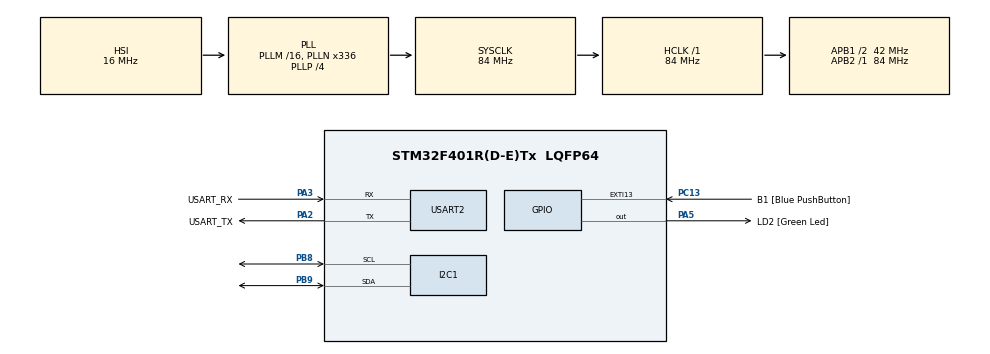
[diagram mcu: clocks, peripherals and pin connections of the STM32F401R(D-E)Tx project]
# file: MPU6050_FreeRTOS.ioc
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Dma.Request0=USART2_TX
Dma.USART2_TX.0.Direction=DMA_MEMORY_TO_PERIPH
Dma.USART2_TX.0.FIFOMode=DMA_FIFOMODE_DISABLE
Dma.USART2_TX.0.Instance=DMA1_Stream6
Dma.USART2_TX.0.MemDataAlignment=DMA_MDATAALIGN_BYTE
Dma.USART2_TX.0.MemInc=DMA_MINC_ENABLE
Dma.USART2_TX.0.Mode=DMA_NORMAL
Dma.USART2_TX.0.PeriphDataAlignment=DMA_PDATAALIGN_BYTE
Dma.USART2_TX.0.PeriphInc=DMA_PINC_DISABLE
Dma.USART2_TX.0.Priority=DMA_PRIORITY_LOW
FREERTOS.Mutexes01=uartMutex,Dynamic,NULL,Available
FREERTOS.Queues01=cmdQueue,10,uint8_t,0,Dynamic,NULL,NULL
FREERTOS.Tasks01=TelemetryTask,24,256,StartDefaultTask,Default,NULL,Dynamic,NULL,NULL;StatusTask,16,256,StartStatusTask,Default,NULL,Dynamic,NULL,NULL
IWDG.Prescaler=IWDG_PRESCALER_32
IWDG.Reload=4000
Mcu.Family=STM32F4
Mcu.Name=STM32F401R(D-E)Tx
Mcu.Package=LQFP64
NVIC.DMA1_Stream6_IRQn=true\:5\:0\:false\:false\:true\:true\:false\:true\:true
NVIC.PriorityGroup=NVIC_PRIORITYGROUP_4
NVIC.TIM1_TRG_COM_TIM11_IRQn=true\:15\:0\:false\:false\:true\:false\:false\:true\:true
NVIC.TimeBase=TIM1_TRG_COM_TIM11_IRQn
NVIC.TimeBaseIP=TIM11
NVIC.USART2_IRQn=true\:5\:0\:false\:false\:true\:true\:true\:true\:true
PA13.GPIO_Label=TMS
PA13.Mode=Trace_Asynchronous_SW
PA13.Signal=SYS_JTMS-SWDIO
PA14.GPIO_Label=TCK
PA14.Mode=Trace_Asynchronous_SW
PA14.Signal=SYS_JTCK-SWCLK
PA2.GPIO_Label=USART_TX
PA2.GPIO_Mode=GPIO_MODE_AF_PP
PA2.GPIO_PuPd=GPIO_NOPULL
PA2.GPIO_Speed=GPIO_SPEED_FREQ_LOW
PA2.Mode=Asynchronous
PA2.Signal=USART2_TX
PA3.GPIO_Label=USART_RX
PA3.GPIO_Mode=GPIO_MODE_AF_PP
PA3.GPIO_PuPd=GPIO_NOPULL
PA3.GPIO_Speed=GPIO_SPEED_FREQ_LOW
PA3.Mode=Asynchronous
PA3.Signal=USART2_RX
PA5.GPIO_Label=LD2 [Green Led]
PA5.GPIO_Mode=GPIO_MODE_OUTPUT_PP
PA5.GPIO_PuPd=GPIO_NOPULL
PA5.GPIO_Speed=GPIO_SPEED_FREQ_LOW
PA5.Signal=GPIO_Output
PB3.GPIO_Label=SWO
PB3.Mode=Trace_Asynchronous_SW
PB3.Signal=SYS_JTDO-SWO
PB8.Mode=I2C
PB8.Signal=I2C1_SCL
PB9.Mode=I2C
PB9.Signal=I2C1_SDA
PC13-ANTI_TAMP.GPIO_Label=B1 [Blue PushButton]
PC13-ANTI_TAMP.GPIO_ModeDefaultEXTI=GPIO_MODE_IT_FALLING
PC13-ANTI_TAMP.GPIO_PuPd=GPIO_NOPULL
PC13-ANTI_TAMP.Signal=GPXTI13
PC14-OSC32_IN.Mode=LSE-External-Oscillator
PC14-OSC32_IN.Signal=RCC_OSC32_IN
PC15-OSC32_OUT.Mode=LSE-External-Oscillator
PC15-OSC32_OUT.Signal=RCC_OSC32_OUT
PH0\ -\ OSC_IN.Mode=HSE-External-Clock-Source
PH0\ -\ OSC_IN.Signal=RCC_OSC_IN
PH1\ -\ OSC_OUT.Mode=HSE-External-Clock-Source
PH1\ -\ OSC_OUT.Signal=RCC_OSC_OUT
ProjectManager.HeapSize=0x200
ProjectManager.StackSize=0x400
ProjectManager.TargetToolchain=STM32CubeIDE
RCC.48MHZClocksFreq_Value=48000000
RCC.AHBFreq_Value=84000000
RCC.APB1CLKDivider=RCC_HCLK_DIV2
RCC.APB1Freq_Value=42000000
RCC.APB1TimFreq_Value=84000000
RCC.APB2Freq_Value=84000000
RCC.APB2TimFreq_Value=84000000
RCC.CortexFreq_Value=84000000
RCC.HCLKFreq_Value=84000000
RCC.HSE_VALUE=8000000
RCC.HSI_VALUE=16000000
RCC.PLLN=336
RCC.PLLP=RCC_PLLP_DIV4
RCC.PLLQ=7
RCC.SYSCLKFreq_VALUE=84000000
RCC.SYSCLKSource=RCC_SYSCLKSOURCE_PLLCLK
RCC.VCOOutputFreq_Value=336000000
USART2.VirtualMode=VM_ASYNC
VP_FREERTOS_VS_CMSIS_V2.Mode=CMSIS_V2
VP_IWDG_VS_IWDG.Mode=IWDG_Activate
VP_SYS_VS_tim11.Mode=TIM11
board=NUCLEO-F401RE

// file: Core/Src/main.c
/* USER CODE BEGIN Header */
/**
  ******************************************************************************
  * @file           : main.c
  * @brief          : Main program body
  ******************************************************************************
  * @attention
  *
  * Copyright (c) 2026 STMicroelectronics.
  * All rights reserved.
  *
  * This software is licensed under terms that can be found in the LICENSE file
  * in the root directory of this software component.
  * If no LICENSE file comes with this software, it is provided AS-IS.
  *
  ******************************************************************************
  */
/* USER CODE END Header */
#include "main.h"
#include "cmsis_os.h"

/* USER CODE BEGIN Includes */
#include <stdio.h>
#include <string.h>
#include "task.h"
/* USER CODE END Includes */

/* USER CODE BEGIN PD */

#define MPU6050_ADDR 0xD0

// Flash Black Box Defines
#define FLASH_USER_SECTOR_ADDR   0x08020000     // Start of Sector 5
#define FLASH_USER_SECTOR        FLASH_SECTOR_5
#define CRASH_MAGIC_WORD         0xDEADBEEF     // Marker to verify log existence
#define CRASH_THRESHOLD_SQ       2.25f          // 1.5g squared (avoids an expensive sqrt() call)
#define TELEMETRY_RATE_VISUAL_MS 30U
#define TELEMETRY_RATE_FAST_MS   500U
#define TELEMETRY_RATE_NORMAL_MS 1000U
#define TELEMETRY_RATE_SLOW_MS   2000U
/* USER CODE END PD */

I2C_HandleTypeDef hi2c1;

IWDG_HandleTypeDef hiwdg;

UART_HandleTypeDef huart2;
DMA_HandleTypeDef hdma_usart2_tx;

/* Definitions for TelemetryTask */
osThreadId_t TelemetryTaskHandle;
const osThreadAttr_t TelemetryTask_attributes = {
  .name = "TelemetryTask",
  // The checksummed float packet formatter needs additional headroom. Keep
  // enough reserve for debug builds and future health/telemetry changes.
  .stack_size = 384 * 4,
  .priority = (osPriority_t) osPriorityNormal,
};
/* Definitions for StatusTask */
osThreadId_t StatusTaskHandle;
const osThreadAttr_t StatusTask_attributes = {
  .name = "StatusTask",
  .stack_size = 256 * 4,
  .priority = (osPriority_t) osPriorityBelowNormal,
};
/* Definitions for cmdQueue */
osMessageQueueId_t cmdQueueHandle;
const osMessageQueueAttr_t cmdQueue_attributes = {
  .name = "cmdQueue"
};
/* Definitions for uartMutex */
osMutexId_t uartMutexHandle;
const osMutexAttr_t uartMutex_attributes = {
  .name = "uartMutex"
};
/* USER CODE BEGIN PV */

// MPU6050 Raw Data
int16_t Accel_X_RAW = 0;
int16_t Accel_Y_RAW = 0;
int16_t Accel_Z_RAW = 0;
int16_t Gyro_X_RAW = 0;
int16_t Gyro_Y_RAW = 0;
int16_t Gyro_Z_RAW = 0;

// MPU6050 Processed Data
float Ax, Ay, Az;
float Gx, Gy, Gz;

// Status Variables
uint8_t check = 0;
uint8_t mpu_init_success = 0;
uint8_t rx_byte = 0;

// Telemetry Stream Control Flags
volatile uint8_t telemetry_paused = 0;      // 0 = Streaming, 1 = Paused
volatile uint32_t telemetry_delay_ms = TELEMETRY_RATE_VISUAL_MS;
volatile uint32_t command_rx_count = 0;
volatile uint32_t command_rx_drop_count = 0;
static uint32_t telemetry_sequence = 0;
static const char *boot_reset_reason = "UNKNOWN";
static volatile uint8_t fault_corrupt_next_frame = 0;
static volatile uint8_t fault_starve_watchdog = 0;

// Crash Detection Flag
volatile uint8_t crash_logged = 0;

/* USER CODE END PV */

void SystemClock_Config(void);
static void MX_GPIO_Init(void);
static void MX_DMA_Init(void);
static void MX_I2C1_Init(void);
static void MX_USART2_UART_Init(void);
static void MX_IWDG_Init(void);
void StartDefaultTask(void *argument);
void StartStatusTask(void *argument);

/* USER CODE BEGIN PFP */

// MPU6050 Functions
void MPU6050_Init(void);
void MPU6050_Read_All(void);
void MPU6050_Sleep(void);
void MPU6050_Wake(void);

uint8_t calculate_checksum(char* str, int len);

void Clear_Crash_Log(void);
void Write_Crash_Log(float x, float y, float z);

/* USER CODE END PFP */

/* USER CODE BEGIN 0 */

/* ============================================================================
   MPU6050 INITIALIZATION
   ============================================================================ */
void MPU6050_Init(void)
{
    uint8_t Data;
    HAL_StatusTypeDef status;

    HAL_Delay(100);

    // Check device ID
    status = HAL_I2C_Mem_Read(&hi2c1, MPU6050_ADDR, 0x75, 1, &check, 1, 1000);

    if (status != HAL_OK || check != 0x68)
    {
        mpu_init_success = 0;
        return;
    }

    mpu_init_success = 1;

    // Wake up using the X gyro PLL as the clock reference.
    Data = 0x01;
    HAL_I2C_Mem_Write(&hi2c1, MPU6050_ADDR, 0x6B, 1, &Data, 1, 1000);
    HAL_Delay(10);

    // 44 Hz digital low-pass filter and 200 Hz sensor sample rate.  The host
    // can still receive a lighter 33 Hz visual stream, but each sample is
    // cleaner and the sensor has a much better chance of observing fast tilt.
    Data = 0x03;
    HAL_I2C_Mem_Write(&hi2c1, MPU6050_ADDR, 0x1A, 1, &Data, 1, 1000);
    Data = 0x04;
    HAL_I2C_Mem_Write(&hi2c1, MPU6050_ADDR, 0x19, 1, &Data, 1, 1000);

    // ±1000 °/s avoids clipping during quick hand rotations (32.8 LSB/°/s).
    Data = 0x10;
    HAL_I2C_Mem_Write(&hi2c1, MPU6050_ADDR, 0x1B, 1, &Data, 1, 1000);

    // ±4 g retains normal hand-motion resolution without clipping shocks.
    Data = 0x08;
    HAL_I2C_Mem_Write(&hi2c1, MPU6050_ADDR, 0x1C, 1, &Data, 1, 1000);

    HAL_Delay(50);
}

/* ============================================================================
   MPU6050 SYNCHRONIZED ACCELEROMETER + GYROSCOPE READ
   ============================================================================ */
void MPU6050_Read_All(void)
{
    uint8_t Rec_Data[14];
    HAL_StatusTypeDef status;

    // One 14-byte burst keeps acceleration and gyro values from the same IMU
    // sample interval, rather than mixing two independent I2C reads.
    status = HAL_I2C_Mem_Read(&hi2c1, MPU6050_ADDR, 0x3B, 1, Rec_Data, 14, 1000);
    if (status != HAL_OK) {
        return;
    }

    Accel_X_RAW = (int16_t)(Rec_Data[0] << 8 | Rec_Data[1]);
    Accel_Y_RAW = (int16_t)(Rec_Data[2] << 8 | Rec_Data[3]);
    Accel_Z_RAW = (int16_t)(Rec_Data[4] << 8 | Rec_Data[5]);
    Gyro_X_RAW = (int16_t)(Rec_Data[8] << 8 | Rec_Data[9]);
    Gyro_Y_RAW = (int16_t)(Rec_Data[10] << 8 | Rec_Data[11]);
    Gyro_Z_RAW = (int16_t)(Rec_Data[12] << 8 | Rec_Data[13]);

    Ax = (float)Accel_X_RAW / 8192.0f;
    Ay = (float)Accel_Y_RAW / 8192.0f;
    Az = (float)Accel_Z_RAW / 8192.0f;
    Gx = (float)Gyro_X_RAW / 32.8f;
    Gy = (float)Gyro_Y_RAW / 32.8f;
    Gz = (float)Gyro_Z_RAW / 32.8f;
}

/* ============================================================================
   MPU6050 POWER MANAGEMENT FUNCTIONS
   ============================================================================ */

// Put MPU6050 into Low-Power Sleep Mode (5 uA)
void MPU6050_Sleep(void)
{
    uint8_t Data = 0x40; // Set Bit 6 (SLEEP = 1)
    HAL_I2C_Mem_Write(&hi2c1, MPU6050_ADDR, 0x6B, 1, &Data, 1, 1000);
}

// Wake up MPU6050 to Active Sampling Mode (~3.9 mA)
void MPU6050_Wake(void)
{
    uint8_t Data = 0x00; // Clear Bit 6 (SLEEP = 0, CLKSEL = Internal 8MHz)
    HAL_I2C_Mem_Write(&hi2c1, MPU6050_ADDR, 0x6B, 1, &Data, 1, 1000);
    HAL_Delay(10);       // Allow internal PLL and sensors to stabilize
}

/* ============================================================================
   NON-VOLATILE FLASH LOGGING FUNCTIONS
   ============================================================================ */

void Clear_Crash_Log(void)
{
    HAL_IWDG_Refresh(&hiwdg); // Keep watchdog happy before blocking erase

    HAL_FLASH_Unlock();

    FLASH_EraseInitTypeDef EraseInitStruct;
    uint32_t SectorError = 0;

    EraseInitStruct.TypeErase = FLASH_TYPEERASE_SECTORS;
    EraseInitStruct.VoltageRange = FLASH_VOLTAGE_RANGE_3; // 2.7V - 3.6V (Nucleo 3.3V supply)
    EraseInitStruct.Sector = FLASH_USER_SECTOR;
    EraseInitStruct.NbSectors = 1;

    HAL_FLASHEx_Erase(&EraseInitStruct, &SectorError);

    HAL_FLASH_Lock();

    HAL_IWDG_Refresh(&hiwdg); // Refresh watchdog immediately after erase
}

void Write_Crash_Log(float x, float y, float z)
{
    Clear_Crash_Log(); // Erase sector first (resets bits to 0xFFFFFFFF)

    HAL_FLASH_Unlock();

    // Re-interpret float bit patterns as 32-bit words
    uint32_t valX = *(uint32_t*)&x;
    uint32_t valY = *(uint32_t*)&y;
    uint32_t valZ = *(uint32_t*)&z;

    // Write Magic Word and Kinematic Data
    HAL_FLASH_Program(FLASH_TYPEPROGRAM_WORD, FLASH_USER_SECTOR_ADDR, CRASH_MAGIC_WORD);
    HAL_FLASH_Program(FLASH_TYPEPROGRAM_WORD, FLASH_USER_SECTOR_ADDR + 4, valX);
    HAL_FLASH_Program(FLASH_TYPEPROGRAM_WORD, FLASH_USER_SECTOR_ADDR + 8, valY);
    HAL_FLASH_Program(FLASH_TYPEPROGRAM_WORD, FLASH_USER_SECTOR_ADDR + 12, valZ);

    HAL_FLASH_Lock();
}

/* USER CODE END 0 */

int main(void)
{

  /* MCU Configuration--------------------------------------------------------*/

  /* Reset of all peripherals, Initializes the Flash interface and the Systick. */
  HAL_Init();

  /* USER CODE BEGIN Init */

  // Read sticky reset flags before peripheral initialization changes them.
  if (__HAL_RCC_GET_FLAG(RCC_FLAG_IWDGRST)) boot_reset_reason = "IWDG";
  else if (__HAL_RCC_GET_FLAG(RCC_FLAG_WWDGRST)) boot_reset_reason = "WWDG";
  else if (__HAL_RCC_GET_FLAG(RCC_FLAG_SFTRST)) boot_reset_reason = "SOFTWARE";
  else if (__HAL_RCC_GET_FLAG(RCC_FLAG_PORRST)) boot_reset_reason = "POWER";
  else if (__HAL_RCC_GET_FLAG(RCC_FLAG_PINRST)) boot_reset_reason = "PIN";
  __HAL_RCC_CLEAR_RESET_FLAGS();

  /* USER CODE END Init */

  /* Configure the system clock */
  SystemClock_Config();

  /* Initialize all configured peripherals */
  MX_GPIO_Init();
  MX_DMA_Init();
  MX_I2C1_Init();
  MX_USART2_UART_Init();
  MX_IWDG_Init();
  /* USER CODE BEGIN 2 */

  MPU6050_Init();
  // Check if Flash Sector 5 already contains a saved crash log from a previous run
  uint32_t boot_magic = *(__IO uint32_t*)FLASH_USER_SECTOR_ADDR;
  if (boot_magic == CRASH_MAGIC_WORD)
  {
      HAL_GPIO_WritePin(LD2_GPIO_Port, LD2_Pin, GPIO_PIN_SET); // Restore LED ON state
      crash_logged = 1; // Sync RAM flag with Flash memory state
  }

  /* USER CODE END 2 */

  /* Init scheduler */
  osKernelInitialize();
  /* Create the mutex(es) */
  /* creation of uartMutex */
  uartMutexHandle = osMutexNew(&uartMutex_attributes);

  /* Create the queue(s) */
  /* creation of cmdQueue */
  cmdQueueHandle = osMessageQueueNew (10, sizeof(uint8_t), &cmdQueue_attributes);

  // Arm UART RX only after the ISR's destination queue exists.
  HAL_UART_Receive_IT(&huart2, &rx_byte, 1);

  /* Create the thread(s) */
  /* creation of TelemetryTask */
  TelemetryTaskHandle = osThreadNew(StartDefaultTask, NULL, &TelemetryTask_attributes);

  /* creation of StatusTask */
  StatusTaskHandle = osThreadNew(StartStatusTask, NULL, &StatusTask_attributes);

  /* Start scheduler */
  osKernelStart();

  /* We should never get here as control is now taken by the scheduler */

  /* Infinite loop */
  while (1)
  {

  }
}

void SystemClock_Config(void)
{
  RCC_OscInitTypeDef RCC_OscInitStruct = {0};
  RCC_ClkInitTypeDef RCC_ClkInitStruct = {0};

  /** Configure the main internal regulator output voltage
  */
  __HAL_RCC_PWR_CLK_ENABLE();
  __HAL_PWR_VOLTAGESCALING_CONFIG(PWR_REGULATOR_VOLTAGE_SCALE2);

  /** Initializes the RCC Oscillators according to the specified parameters
  * in the RCC_OscInitTypeDef structure.
  */
  RCC_OscInitStruct.OscillatorType = RCC_OSCILLATORTYPE_HSI|RCC_OSCILLATORTYPE_LSI;
  RCC_OscInitStruct.HSIState = RCC_HSI_ON;
  RCC_OscInitStruct.HSICalibrationValue = RCC_HSICALIBRATION_DEFAULT;
  RCC_OscInitStruct.LSIState = RCC_LSI_ON;
  RCC_OscInitStruct.PLL.PLLState = RCC_PLL_ON;
  RCC_OscInitStruct.PLL.PLLSource = RCC_PLLSOURCE_HSI;
  RCC_OscInitStruct.PLL.PLLM = 16;
  RCC_OscInitStruct.PLL.PLLN = 336;
  RCC_OscInitStruct.PLL.PLLP = RCC_PLLP_DIV4;
  RCC_OscInitStruct.PLL.PLLQ = 7;
  if (HAL_RCC_OscConfig(&RCC_OscInitStruct) != HAL_OK)
  {
    Error_Handler();
  }

  /** Initializes the CPU, AHB and APB buses clocks
  */
  RCC_ClkInitStruct.ClockType = RCC_CLOCKTYPE_HCLK|RCC_CLOCKTYPE_SYSCLK
                              |RCC_CLOCKTYPE_PCLK1|RCC_CLOCKTYPE_PCLK2;
  RCC_ClkInitStruct.SYSCLKSource = RCC_SYSCLKSOURCE_PLLCLK;
  RCC_ClkInitStruct.AHBCLKDivider = RCC_SYSCLK_DIV1;
  RCC_ClkInitStruct.APB1CLKDivider = RCC_HCLK_DIV2;
  RCC_ClkInitStruct.APB2CLKDivider = RCC_HCLK_DIV1;

  if (HAL_RCC_ClockConfig(&RCC_ClkInitStruct, FLASH_LATENCY_2) != HAL_OK)
  {
    Error_Handler();
  }
}

static void MX_I2C1_Init(void)
{

  hi2c1.Instance = I2C1;
  hi2c1.Init.ClockSpeed = 100000;
  hi2c1.Init.DutyCycle = I2C_DUTYCYCLE_2;
  hi2c1.Init.OwnAddress1 = 0;
  hi2c1.Init.AddressingMode = I2C_ADDRESSINGMODE_7BIT;
  hi2c1.Init.DualAddressMode = I2C_DUALADDRESS_DISABLE;
  hi2c1.Init.OwnAddress2 = 0;
  hi2c1.Init.GeneralCallMode = I2C_GENERALCALL_DISABLE;
  hi2c1.Init.NoStretchMode = I2C_NOSTRETCH_DISABLE;
  if (HAL_I2C_Init(&hi2c1) != HAL_OK)
  {
    Error_Handler();
  }

}

static void MX_IWDG_Init(void)
{

  hiwdg.Instance = IWDG;
  hiwdg.Init.Prescaler = IWDG_PRESCALER_32;
  hiwdg.Init.Reload = 4000;
  if (HAL_IWDG_Init(&hiwdg) != HAL_OK)
  {
    Error_Handler();
  }

}

static void MX_USART2_UART_Init(void)
{

  huart2.Instance = USART2;
  huart2.Init.BaudRate = 115200;
  huart2.Init.WordLength = UART_WORDLENGTH_8B;
  huart2.Init.StopBits = UART_STOPBITS_1;
  huart2.Init.Parity = UART_PARITY_NONE;
  huart2.Init.Mode = UART_MODE_TX_RX;
  huart2.Init.HwFlowCtl = UART_HWCONTROL_NONE;
  huart2.Init.OverSampling = UART_OVERSAMPLING_16;
  if (HAL_UART_Init(&huart2) != HAL_OK)
  {
    Error_Handler();
  }

}

static void MX_DMA_Init(void)
{

  /* DMA controller clock enable */
  __HAL_RCC_DMA1_CLK_ENABLE();

  /* DMA interrupt init */
  /* DMA1_Stream6_IRQn interrupt configuration */
  HAL_NVIC_SetPriority(DMA1_Stream6_IRQn, 5, 0);
  HAL_NVIC_EnableIRQ(DMA1_Stream6_IRQn);

}

static void MX_GPIO_Init(void)
{
  GPIO_InitTypeDef GPIO_InitStruct = {0};

  /* GPIO Ports Clock Enable */
  __HAL_RCC_GPIOC_CLK_ENABLE();
  __HAL_RCC_GPIOH_CLK_ENABLE();
  __HAL_RCC_GPIOA_CLK_ENABLE();
  __HAL_RCC_GPIOB_CLK_ENABLE();

  /*Configure GPIO pin Output Level */
  HAL_GPIO_WritePin(LD2_GPIO_Port, LD2_Pin, GPIO_PIN_RESET);

  /*Configure GPIO pin : B1_Pin */
  GPIO_InitStruct.Pin = B1_Pin;
  GPIO_InitStruct.Mode = GPIO_MODE_IT_FALLING;
  GPIO_InitStruct.Pull = GPIO_NOPULL;
  HAL_GPIO_Init(B1_GPIO_Port, &GPIO_InitStruct);

  /*Configure GPIO pin : LD2_Pin */
  GPIO_InitStruct.Pin = LD2_Pin;
  GPIO_InitStruct.Mode = GPIO_MODE_OUTPUT_PP;
  GPIO_InitStruct.Pull = GPIO_NOPULL;
  GPIO_InitStruct.Speed = GPIO_SPEED_FREQ_LOW;
  HAL_GPIO_Init(LD2_GPIO_Port, &GPIO_InitStruct);

}

/* USER CODE BEGIN 4 */
uint8_t calculate_checksum(char* str, int len) {
    uint8_t checksum = 0;
    for (int i = 0; i < len; i++) {
        checksum ^= (uint8_t)str[i];
    }
    return checksum;
}

// UART RX Interrupt Callback (Invoked automatically by hardware when a byte arrives)
void HAL_UART_RxCpltCallback(UART_HandleTypeDef *huart)
{
    if (huart->Instance == USART2)
    {

        // Send the received byte into the FreeRTOS queue.  These counters are
        // included in the heartbeat so a host-to-board wiring problem is
        // visible instead of silently leaving the rate at its old value.
        if (cmdQueueHandle != NULL && osMessageQueuePut(cmdQueueHandle, &rx_byte, 0, 0) == osOK)
        {
            command_rx_count++;
        }
        else
        {
            command_rx_drop_count++;
        }

        // Re-arm interrupt for the next incoming byte
        HAL_UART_Receive_IT(&huart2, &rx_byte, 1);
    }
}
/* USER CODE END 4 */

void StartDefaultTask(void *argument)
{
  /* USER CODE BEGIN 5 */
	static char uart_buf[128];
	uint32_t next_wake = osKernelGetTickCount();

  /* Infinite loop */
	for(;;)
	  {
	    // A one-shot demo command deliberately stops this task and its IWDG
	    // refresh. Hardware resets the MCU; boot clears the flag automatically.
	    if (fault_starve_watchdog)
	    {
	        osDelay(20);
	        continue;
	    }
	    HAL_IWDG_Refresh(&hiwdg);

	    if (!telemetry_paused)
	    {
            MPU6050_Read_All();

		float mag_sq = (Ax * Ax) + (Ay * Ay) + (Az * Az);

		if (mag_sq > CRASH_THRESHOLD_SQ && !crash_logged)
		{
			// Turn ON onboard green LED to signal a triggered write
			HAL_GPIO_WritePin(LD2_GPIO_Port, LD2_Pin, GPIO_PIN_SET);

			Write_Crash_Log(Ax, Ay, Az);
			crash_logged = 1; // Prevent continuous flash writes
		}

	        if (uartMutexHandle != NULL && osMutexAcquire(uartMutexHandle, 100) == osOK)
	        {
	            // Wait for any background DMA transfer to finish
	            while (huart2.gState != HAL_UART_STATE_READY)
	            {
	                osDelay(1); // Yield CPU to other tasks while waiting
	            }

	            // NOW it is 100% safe to overwrite the buffer
	            int data_len = snprintf(uart_buf, sizeof(uart_buf),
	                "AX:%.2f|AY:%.2f|AZ:%.2f|GX:%.1f|GY:%.1f|GZ:%.1f|SEQ:%lu",
	                Ax, Ay, Az, Gx, Gy, Gz, (unsigned long)telemetry_sequence);
	            if (data_len > 0 && data_len < (int)sizeof(uart_buf) - 12)
	            {
	                uint8_t chk = calculate_checksum(uart_buf, data_len);
	                int suffix_len = snprintf(uart_buf + data_len, sizeof(uart_buf) - data_len,
	                    "|CHK:0x%02X\r\n", chk);
	                if (suffix_len > 0 && suffix_len < (int)(sizeof(uart_buf) - data_len))
	                {
	                    if (fault_corrupt_next_frame)
	                    {
	                        // Flip exactly one bit in a numeric AX character
	                        // AFTER computing CHK. The packet remains parseable
	                        // but must fail the host's checksum validation.
	                        for (int i = 3; i < data_len; i++)
	                        {
	                            if (uart_buf[i] >= '0' && uart_buf[i] <= '9')
	                            {
	                                uart_buf[i] ^= 1;
	                                break;
	                            }
	                        }
	                        fault_corrupt_next_frame = 0;
	                    }
	                    HAL_UART_Transmit_DMA(&huart2, (uint8_t *)uart_buf, data_len + suffix_len);
	                    telemetry_sequence++;
	                }
	            }

	            osMutexRelease(uartMutexHandle);
	        }
	    }

	    // Keep a stable deadline instead of adding sensor-read and DMA-start
	    // overhead to every period.  If a slow I2C transaction overruns the
	    // deadline, restart from the current tick rather than burst-catch-up.
	    uint32_t period_ms = telemetry_delay_ms;
	    next_wake += period_ms;
	    uint32_t now_ticks = osKernelGetTickCount();
	    if ((int32_t)(now_ticks - next_wake) >= 0)
	    {
	        next_wake = now_ticks + period_ms;
	    }
	    osDelayUntil(next_wake);
	  }
  /* USER CODE END 5 */
}

void StartStatusTask(void *argument)
{
  /* USER CODE BEGIN StartStatusTask */
  static char status_buf[224];
  uint8_t received_cmd = 0;
  uint32_t next_heartbeat = osKernelGetTickCount();

  /* Infinite loop */
  for(;;)
  {
    // Process ALL queued command bytes sent from the UART RX ISR
    while (osMessageQueueGet(cmdQueueHandle, &received_cmd, NULL, 0) == osOK)
    {
        // Filter out line endings and whitespace sent by serial terminal apps
        if (received_cmd != '\r' && received_cmd != '\n' && received_cmd != ' ')
        {
            // ----------------------------------------------------------------
            // COMMAND 'p' : PAUSE / RESUME TELEMETRY (HW POWER MANAGEMENT)
            // ----------------------------------------------------------------
            if (received_cmd == 'p')
            {
                telemetry_paused = !telemetry_paused;

                if (telemetry_paused)
                {
                    MPU6050_Sleep(); // Drop sensor to 5 uA sleep state over I2C
                }
                else
                {
                    MPU6050_Wake();  // Restore active sampling mode
                }

                if (uartMutexHandle != NULL && osMutexAcquire(uartMutexHandle, 100) == osOK)
                {
                    while (huart2.gState != HAL_UART_STATE_READY) { osDelay(1); }

                    int len = sprintf(status_buf, "[CMD RECV]: Telemetry %s (Sensor %s)\r\n",
                                      telemetry_paused ? "PAUSED" : "RESUMED",
                                      telemetry_paused ? "SLEEP" : "AWAKE");

                    HAL_UART_Transmit_DMA(&huart2, (uint8_t *)status_buf, len);
                    osMutexRelease(uartMutexHandle);
                }
            }
            // ----------------------------------------------------------------
            // COMMAND 'f' : FAST SAMPLING RATE (500ms / 2Hz)
            // ----------------------------------------------------------------
            else if (received_cmd == 'f')
            {
                telemetry_delay_ms = TELEMETRY_RATE_FAST_MS;
                if (uartMutexHandle != NULL && osMutexAcquire(uartMutexHandle, 100) == osOK)
                {
                    while (huart2.gState != HAL_UART_STATE_READY) { osDelay(1); }
                    int len = sprintf(status_buf, "[CMD RECV]: Sampling Rate set to FAST (500ms)\r\n");
                    HAL_UART_Transmit_DMA(&huart2, (uint8_t *)status_buf, len);
                    osMutexRelease(uartMutexHandle);
                }
            }
            // ----------------------------------------------------------------
            // COMMAND 'n' : NORMAL SAMPLING RATE (1000ms / 1Hz)
            // ----------------------------------------------------------------
            else if (received_cmd == 'n')
            {
                telemetry_delay_ms = TELEMETRY_RATE_NORMAL_MS;
                if (uartMutexHandle != NULL && osMutexAcquire(uartMutexHandle, 100) == osOK)
                {
                    while (huart2.gState != HAL_UART_STATE_READY) { osDelay(1); }
                    int len = sprintf(status_buf, "[CMD RECV]: Sampling Rate set to NORMAL (1000ms)\r\n");
                    HAL_UART_Transmit_DMA(&huart2, (uint8_t *)status_buf, len);
                    osMutexRelease(uartMutexHandle);
                }
            }
            // ----------------------------------------------------------------
            // COMMAND 's' : SLOW SAMPLING RATE (2000ms / 0.5Hz)
            // ----------------------------------------------------------------
            else if (received_cmd == 's')
            {
                telemetry_delay_ms = TELEMETRY_RATE_SLOW_MS;
                if (uartMutexHandle != NULL && osMutexAcquire(uartMutexHandle, 100) == osOK)
                {
                    while (huart2.gState != HAL_UART_STATE_READY) { osDelay(1); }
                    int len = sprintf(status_buf, "[CMD RECV]: Sampling Rate set to SLOW (2000ms)\r\n");
                    HAL_UART_Transmit_DMA(&huart2, (uint8_t *)status_buf, len);
                    osMutexRelease(uartMutexHandle);
                }
            }
            // ----------------------------------------------------------------
            // COMMAND 'v' : 33 FPS VISUAL SAMPLING RATE (30ms)
            // ----------------------------------------------------------------
            else if (received_cmd == 'v')
            {
                telemetry_delay_ms = TELEMETRY_RATE_VISUAL_MS;
                if (uartMutexHandle != NULL && osMutexAcquire(uartMutexHandle, 100) == osOK)
                {
                    while (huart2.gState != HAL_UART_STATE_READY) { osDelay(1); }
                    int len = sprintf(status_buf, "[CMD RECV]: Sampling Rate set to VISUAL (30ms / 33Hz)\r\n");
                    HAL_UART_Transmit_DMA(&huart2, (uint8_t *)status_buf, len);
                    osMutexRelease(uartMutexHandle);
                }
            }
            // ----------------------------------------------------------------
            // COMMAND 'c' : CLEAR / ERASE FLASH BLACK BOX SECTOR
            // ----------------------------------------------------------------
            else if (received_cmd == 'c')
            {
                Clear_Crash_Log();
                crash_logged = 0; // Re-arm shock detection trigger

                HAL_GPIO_WritePin(LD2_GPIO_Port, LD2_Pin, GPIO_PIN_RESET);

                if (uartMutexHandle != NULL && osMutexAcquire(uartMutexHandle, 100) == osOK)
                {
                    while (huart2.gState != HAL_UART_STATE_READY) { osDelay(1); }
                    int len = sprintf(status_buf, "[CMD RECV]: Flash Sector Erased. Crash Log Cleared.\r\n");
                    HAL_UART_Transmit_DMA(&huart2, (uint8_t *)status_buf, len);
                    osMutexRelease(uartMutexHandle);
                }
            }
            // ----------------------------------------------------------------
            // COMMAND 'd' : DUMP BLACK BOX SNAPSHOT FROM FLASH MEMORY
            // ----------------------------------------------------------------
            else if (received_cmd == 'd')
            {
                if (uartMutexHandle != NULL && osMutexAcquire(uartMutexHandle, 100) == osOK)
                {
                    while (huart2.gState != HAL_UART_STATE_READY) { osDelay(1); }

                    // Read 32-bit Magic Word directly from Sector 5 memory address
                    uint32_t magic = *(__IO uint32_t*)FLASH_USER_SECTOR_ADDR;

                    if (magic == CRASH_MAGIC_WORD)
                    {
                        // Direct pointer dereferencing to cast raw Flash words back into floats
                        float read_x = *(float*)(FLASH_USER_SECTOR_ADDR + 4);
                        float read_y = *(float*)(FLASH_USER_SECTOR_ADDR + 8);
                        float read_z = *(float*)(FLASH_USER_SECTOR_ADDR + 12);

                        int len = sprintf(status_buf, "[FLASH LOG]: CRASH SNAPSHOT -> X: %.2f | Y: %.2f | Z: %.2f\r\n",
                                          read_x, read_y, read_z);
                        HAL_UART_Transmit_DMA(&huart2, (uint8_t *)status_buf, len);
                    }
                    else
                    {
                        int len = sprintf(status_buf, "[FLASH LOG]: Sector Empty. No crashes recorded.\r\n");
                        HAL_UART_Transmit_DMA(&huart2, (uint8_t *)status_buf, len);
                    }

                    osMutexRelease(uartMutexHandle);
                }
            }
            else if (received_cmd == 'x' || received_cmd == 'w')
            {
                if (uartMutexHandle != NULL && osMutexAcquire(uartMutexHandle, 100) == osOK)
                {
                    while (huart2.gState != HAL_UART_STATE_READY) { osDelay(1); }
                    int len = snprintf(status_buf, sizeof(status_buf), "[FAULT]: %s\r\n",
                                       received_cmd == 'x' ? "CHECKSUM ARMED" : "WATCHDOG STARVE");
                    if (len > 0 && len < (int)sizeof(status_buf) &&
                        HAL_UART_Transmit_DMA(&huart2, (uint8_t *)status_buf, len) == HAL_OK)
                    {
                        if (received_cmd == 'x') fault_corrupt_next_frame = 1;
                        else fault_starve_watchdog = 1;
                    }
                    osMutexRelease(uartMutexHandle);
                }
            }
            else if (received_cmd == 'm')
            {
                if (uartMutexHandle != NULL && osMutexAcquire(uartMutexHandle, 100) == osOK)
                {
                    while (huart2.gState != HAL_UART_STATE_READY) { osDelay(1); }
                    int len = snprintf(status_buf, sizeof(status_buf), "[FAULT]: MUTEX HOLD\r\n");
                    if (len > 0 && len < (int)sizeof(status_buf))
                        HAL_UART_Transmit_DMA(&huart2, (uint8_t *)status_buf, len);
                    while (huart2.gState != HAL_UART_STATE_READY) { osDelay(1); }
                    osDelay(350); // Bounded contention; IWDG remains fed by TelemetryTask.
                    osMutexRelease(uartMutexHandle);
                    if (osMutexAcquire(uartMutexHandle, 100) == osOK)
                    {
                        while (huart2.gState != HAL_UART_STATE_READY) { osDelay(1); }
                        len = snprintf(status_buf, sizeof(status_buf), "[FAULT]: MUTEX RELEASED\r\n");
                        if (len > 0 && len < (int)sizeof(status_buf))
                            HAL_UART_Transmit_DMA(&huart2, (uint8_t *)status_buf, len);
                        osMutexRelease(uartMutexHandle);
                    }
                }
            }
        }
    }

    // Print a periodic system health heartbeat every 5 seconds.
    // RX should increment when the PC sends a rate command.
    if ((int32_t)(osKernelGetTickCount() - next_heartbeat) >= 0 &&
        uartMutexHandle != NULL && osMutexAcquire(uartMutexHandle, 100) == osOK)
    {
        while (huart2.gState != HAL_UART_STATE_READY) { osDelay(1); }

        unsigned long telemetry_stack = (unsigned long)uxTaskGetStackHighWaterMark((TaskHandle_t)TelemetryTaskHandle);
        unsigned long status_stack = (unsigned long)uxTaskGetStackHighWaterMark((TaskHandle_t)StatusTaskHandle);
        int len = snprintf(status_buf, sizeof(status_buf),
            "[SYS STATUS]: RTOS Nominal | Watchdog Active | Rate: %lums | RX: %lu | Drop: %lu | Reset: %s | Stack: %lu,%lu | UID: %08lX%08lX%08lX\r\n",
            (unsigned long)telemetry_delay_ms, (unsigned long)command_rx_count,
            (unsigned long)command_rx_drop_count, boot_reset_reason,
            telemetry_stack, status_stack, (unsigned long)HAL_GetUIDw0(),
            (unsigned long)HAL_GetUIDw1(), (unsigned long)HAL_GetUIDw2());
        if (len > 0 && len < (int)sizeof(status_buf))
            HAL_UART_Transmit_DMA(&huart2, (uint8_t *)status_buf, len);

        osMutexRelease(uartMutexHandle);
        next_heartbeat = osKernelGetTickCount() + 5000;
    }

    osDelay(20); // Check queued commands promptly; heartbeat stays on its 5 s cadence.
  }
  /* USER CODE END StartStatusTask */
}

void HAL_TIM_PeriodElapsedCallback(TIM_HandleTypeDef *htim)
{
  if (htim->Instance == TIM11)
  {
    HAL_IncTick();
  }
}

void Error_Handler(void)
{
  __disable_irq();
  while (1)
  {
  }
}
